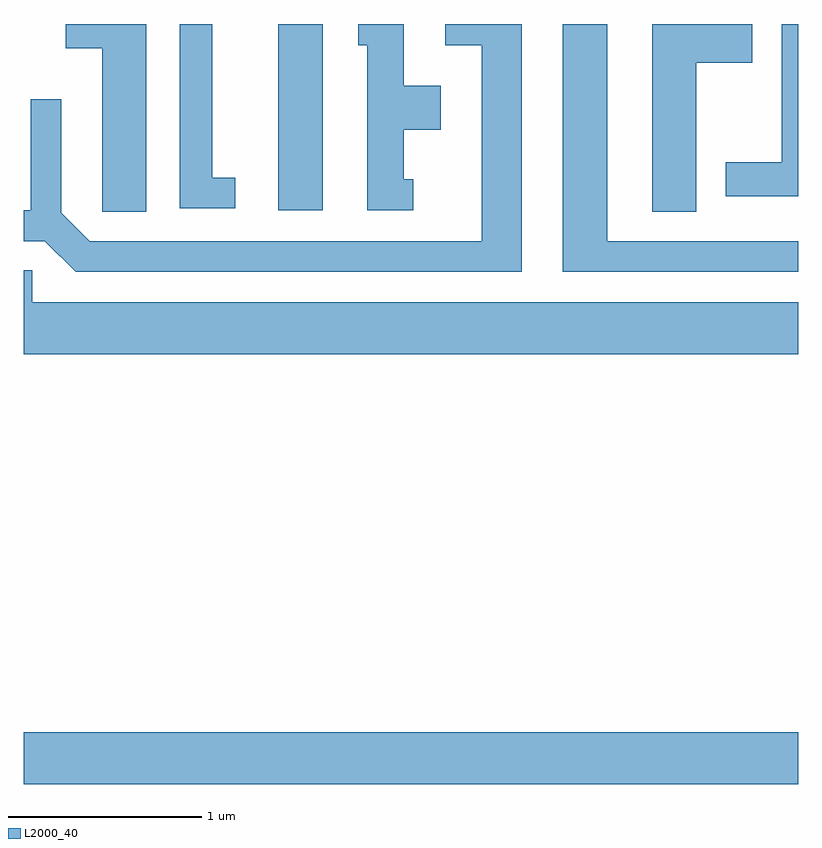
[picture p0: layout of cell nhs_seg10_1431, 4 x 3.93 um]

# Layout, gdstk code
import gdstk
lib = gdstk.Library(unit=1e-6, precision=1e-09)
def R(c, l, rs):  # rectangles x0, y0, x1, y1
    for r in rs: c.add(gdstk.rectangle(r[:2], r[2:], *l))
def P(c, l, *ps):  # polygons
    for p in ps: c.add(gdstk.Polygon(p, *l))
L2000_40 = (2000, 40)

nhs_seg10_1431 = lib.new_cell('nhs_seg10_1431')
R(nhs_seg10_1431, L2000_40, [(227.611,2100.596,231.611,2100.864), (228.926,2103.561,229.154,2104.522)])
P(nhs_seg10_1431, L2000_40, [(228.244,2104.522),(227.828,2104.522),(227.828,2104.396),(228.016,2104.396),(228.016,2103.551),(228.244,2103.551)],
  [(230.184,2104.522),(229.788,2104.522),(229.788,2104.411),(229.976,2104.411),(229.976,2103.399),(227.952,2103.399),(227.804,2103.547),(227.804,2104.133),(227.646,2104.133),(227.646,2103.559),(227.611,2103.559),(227.611,2103.401),(227.719,2103.401),(227.879,2103.241),(230.184,2103.241)],
  [(231.611,2104.522),(231.526,2104.522),(231.526,2103.809),(231.236,2103.809),(231.236,2103.631),(231.611,2103.631)],
  [(229.623,2103.719),(229.574,2103.719),(229.574,2103.976),(229.764,2103.976),(229.764,2104.204),(229.574,2104.204),(229.574,2104.522),(229.338,2104.522),(229.338,2104.411),(229.386,2104.411),(229.386,2103.561),(229.623,2103.561)],
  [(231.084,2104.321),(231.374,2104.321),(231.374,2104.522),(230.856,2104.522),(230.856,2103.551),(231.084,2103.551)],
  [(228.703,2103.729),(228.584,2103.729),(228.584,2104.522),(228.416,2104.522),(228.416,2103.571),(228.703,2103.571)],
  [(231.611,2103.399),(230.624,2103.399),(230.624,2104.522),(230.396,2104.522),(230.396,2103.241),(231.611,2103.241)],
  [(231.611,2103.084),(227.654,2103.084),(227.654,2103.249),(227.611,2103.249),(227.611,2102.816),(231.611,2102.816)])

lib.write_gds('nhs_seg10_1431.gds')
